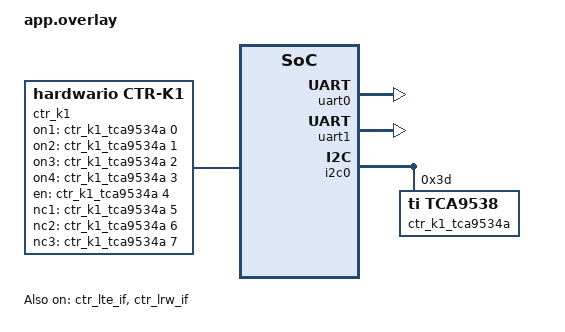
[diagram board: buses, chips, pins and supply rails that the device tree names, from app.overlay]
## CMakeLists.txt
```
#
# Copyright (c) 2024 HARDWARIO a.s.
#
#  SPDX-License-Identifier: LicenseRef-HARDWARIO-5-Clause
#

cmake_minimum_required(VERSION 3.20.0)

set(ENV{FW_BUNDLE} "com.hardwario.chester.current")
set(ENV{FW_VERSION} "v1.0.0")
set(ENV{FW_NAME} "CHESTER Current")

find_package(Zephyr REQUIRED HINTS $ENV{ZEPHYR_BASE})

project(chester-current)

add_custom_command(
    COMMAND ../../../scripts/gen-msg-key.py ../codec/cbor-decoder.yaml ../src/msg_key.h
    OUTPUT ../src/msg_key.h
    MAIN_DEPENDENCY ../codec/cbor-decoder.yaml
)

target_sources(app PRIVATE src/app_sensor.c)
target_sources(app PRIVATE src/main.c)
target_sources(app PRIVATE src/app_shell.c)
target_sources(app PRIVATE src/app_init.c)
target_sources(app PRIVATE src/app_data.c)
target_sources(app PRIVATE src/app_power.c)
target_sources(app PRIVATE src/app_send.c)
target_sources(app PRIVATE src/app_config.c)
target_sources(app PRIVATE src/app_work.c)
target_sources(app PRIVATE src/app_handler.c)
target_sources(app PRIVATE src/app_backup.c)
target_sources(app PRIVATE src/app_cbor.c)
```

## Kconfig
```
#
# Copyright (c) 2024 HARDWARIO a.s.
#
# SPDX-License-Identifier: LicenseRef-HARDWARIO-5-Clause
#

menu "Application"

# CHESTER CURRENT Project | CURRENT Variant 

# LTE 
config SHIELD_CTR_LTE
	bool "Enable SHIELD_CTR_LTE"
	default y 

config CTR_LTE
	default y
# LRW 
config SHIELD_CTR_LRW
	bool "Enable SHIELD_CTR_LRW"
	default y 

config CTR_LRW
	default y
# K1 
config SHIELD_CTR_K1
	bool "Enable SHIELD_CTR_K1"
	default y 

config CTR_K1
	default y

endmenu

menu "Zephyr Kernel"
source "Kconfig.zephyr"
endmenu
```

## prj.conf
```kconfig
#
# Copyright (c) 2024 HARDWARIO a.s.
#
#  SPDX-License-Identifier: LicenseRef-HARDWARIO-5-Clause
#

# Configurations
CONFIG_ADC_SHELL=y
CONFIG_CTR_ACCEL=y
CONFIG_CTR_BATT=y
CONFIG_CTR_BUTTON=y
CONFIG_CTR_BLE=y
CONFIG_CTR_BUF=y
CONFIG_CTR_DEFAULTS=y
CONFIG_CTR_INFO=y
CONFIG_CTR_LED=y
CONFIG_CTR_LOG=y
CONFIG_CTR_RTC=y
CONFIG_CTR_THERM=y
CONFIG_CTR_WDOG=y
CONFIG_ENTROPY_GENERATOR=y
CONFIG_TINYCRYPT=y
CONFIG_TINYCRYPT_SHA256=y
CONFIG_ZCBOR=y
CONFIG_ZCBOR_STOP_ON_ERROR=y
CONFIG_CTR_LTE_CLKSYNC=y

# Extra configurations
CONFIG_ADC_TLA2021_INIT_PRIORITY=60
CONFIG_ADC_NRFX_SAADC=n
CONFIG_ADC_SHELL=n
CONFIG_CTR_K1_LOG_LEVEL_DBG=y

# USER CODE BEGIN Config 
# USER CODE END Config
```

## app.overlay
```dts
/*
 * Copyright (c) 2024 HARDWARIO a.s.
 *
 * SPDX-License-Identifier: LicenseRef-HARDWARIO-5-Clause
 */

/* CHESTER CURRENT Project | CURRENT Variant */

/* LTE  */
&ctr_lte_if {
	status = "okay";
};

&uart0 {
	status = "okay";
};
/* LRW   */
&ctr_lrw_if {
	status = "okay";
};

&uart1 {
	status = "okay";
};
/* K1  */
/ {
	ctr_k1: ctr_k1 {
		compatible = "hardwario,ctr-k1";
		status = "okay";
		on1-gpios = <&ctr_k1_tca9534a 0 GPIO_ACTIVE_HIGH>;
		on2-gpios = <&ctr_k1_tca9534a 1 GPIO_ACTIVE_HIGH>;
		on3-gpios = <&ctr_k1_tca9534a 2 GPIO_ACTIVE_HIGH>;
		on4-gpios = <&ctr_k1_tca9534a 3 GPIO_ACTIVE_HIGH>;
		en-gpios = <&ctr_k1_tca9534a 4 GPIO_ACTIVE_HIGH>;
		nc1-gpios = <&ctr_k1_tca9534a 5 GPIO_ACTIVE_HIGH>;
		nc2-gpios = <&ctr_k1_tca9534a 6 GPIO_ACTIVE_HIGH>;
		nc3-gpios = <&ctr_k1_tca9534a 7 GPIO_ACTIVE_HIGH>;
	};
};

&i2c0 {
	ctr_k1_tca9534a: ctr_k1_tca9534a@3d {
		compatible = "ti,tca9538";
		status = "okay";
		reg = <0x3d>;
		#gpio-cells = <2>;
		gpio-controller;
		ngpios = <8>;
	};
};
```

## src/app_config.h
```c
/*
 * Copyright (c) 2024 HARDWARIO a.s.
 *
 * SPDX-License-Identifier: LicenseRef-HARDWARIO-5-Clause
 */

#ifndef APP_CONFIG_H_
#define APP_CONFIG_H_

/* Zephyr includes */
#include <zephyr/shell/shell.h>

/* Standard includes */
#include <stdbool.h>
#include <stddef.h>

/* USER CODE BEGIN Includes */
/* USER CODE END Includes */

#ifdef __cplusplus
extern "C" {
#endif

#define APP_CONFIG_CHANNEL_COUNT 4

enum app_config_mode {
	APP_CONFIG_MODE_NONE = 0,
	APP_CONFIG_MODE_LTE = 1,
	APP_CONFIG_MODE_LRW = 2,
};

struct app_config {
	enum app_config_mode mode;
	int channel_interval_sample;
	int channel_interval_aggreg;
	int interval_report;
	int w1_therm_interval_sample;
	int w1_therm_interval_aggreg;
	int event_report_delay;
	int event_report_rate;
	bool backup_report_connected;
	bool backup_report_disconnected;
	bool channel_active[4];
	bool channel_differential[4];
	int channel_calib_x0[4];
	int channel_calib_y0[4];
	int channel_calib_x1[4];
	int channel_calib_y1[4];

	/* USER CODE BEGIN Struct Variables */
	/* USER CODE END Struct Variables */
};

extern struct app_config g_app_config;

/* USER CODE BEGIN Variables */
/* USER CODE END Variables */

int app_config_cmd_config_mode(const struct shell *shell, size_t argc, char **argv);
int app_config_cmd_config_show(const struct shell *shell, size_t argc, char **argv);
int app_config_cmd_config_channel_interval_sample(const struct shell *shell, size_t argc, char **argv);
int app_config_cmd_config_channel_interval_aggreg(const struct shell *shell, size_t argc, char **argv);
int app_config_cmd_config_interval_report(const struct shell *shell, size_t argc, char **argv);
int app_config_cmd_config_w1_therm_interval_sample(const struct shell *shell, size_t argc, char **argv);
int app_config_cmd_config_w1_therm_interval_aggreg(const struct shell *shell, size_t argc, char **argv);
int app_config_cmd_config_event_report_delay(const struct shell *shell, size_t argc, char **argv);
int app_config_cmd_config_event_report_rate(const struct shell *shell, size_t argc, char **argv);
int app_config_cmd_config_backup_report_connected(const struct shell *shell, size_t argc, char **argv);
int app_config_cmd_config_backup_report_disconnected(const struct shell *shell, size_t argc, char **argv);
int app_config_cmd_config_channel_active(const struct shell *shell, size_t argc, char **argv);
int app_config_cmd_config_channel_differential(const struct shell *shell, size_t argc, char **argv);
int app_config_cmd_config_channel_calib_x0(const struct shell *shell, size_t argc, char **argv);
int app_config_cmd_config_channel_calib_y0(const struct shell *shell, size_t argc, char **argv);
int app_config_cmd_config_channel_calib_x1(const struct shell *shell, size_t argc, char **argv);
int app_config_cmd_config_channel_calib_y1(const struct shell *shell, size_t argc, char **argv);
int app_config_get_interval_report(void);
int app_config_set_interval_report(int value);

/* USER CODE BEGIN Functions 1 */
/* USER CODE END Functions 1 */

#ifdef __cplusplus
}
#endif

#endif /* APP_CONFIG_H_ */
```

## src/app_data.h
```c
/*
 * Copyright (c) 2023 HARDWARIO a.s.
 *
 * SPDX-License-Identifier: LicenseRef-HARDWARIO-5-Clause
 */

#ifndef APP_DATA_H_
#define APP_DATA_H_

#include "app_config.h"

/* CHESTER includes */
#include <chester/ctr_lte.h>

/* Standard includes */
#include <stdbool.h>
#include <stdint.h>

#define APP_DATA_ANALOG_MAX_SAMPLES      32
#define APP_DATA_ANALOG_MAX_MEASUREMENTS 32

#define APP_DATA_MAX_BACKUP_EVENTS 32

#define APP_DATA_W1_THERM_COUNT            10
#define APP_DATA_W1_THERM_MAX_SAMPLES      32
#define APP_DATA_W1_THERM_MAX_MEASUREMENTS 32

#ifdef __cplusplus
extern "C" {
#endif

#if defined(CONFIG_SHIELD_CTR_Z)
struct app_data_backup_event {
	int64_t timestamp;
	bool connected;
};

struct app_data_backup {
	float line_voltage;
	float battery_voltage;
	bool line_present;
	int event_count;
	struct app_data_backup_event events[APP_DATA_MAX_BACKUP_EVENTS];
};
#endif /* defined(CONFIG_SHIELD_CTR_Z) */

#if defined(CONFIG_SHIELD_CTR_K1)
struct app_data_analog_aggreg {
	float min;
	float max;
	float avg;
	float mdn;
};

struct app_data_channel {
	int64_t timestamp;

	int sample_count;
	float samples_mean[APP_DATA_ANALOG_MAX_SAMPLES];
	float samples_rms[APP_DATA_ANALOG_MAX_SAMPLES];

	int measurement_count;
	struct app_data_analog_aggreg measurements_mean[APP_DATA_ANALOG_MAX_MEASUREMENTS];
	struct app_data_analog_aggreg measurements_rms[APP_DATA_ANALOG_MAX_MEASUREMENTS];
};
#endif /* defined(CONFIG_SHIELD_CTR_K1) */

#if defined(CONFIG_SHIELD_CTR_DS18B20)
struct app_data_w1_therm_measurement {
	struct app_data_analog_aggreg temperature;
};

struct app_data_w1_therm_sensor {
	uint64_t serial_number;

	float last_sample_temperature;

	int sample_count;
	float samples_temperature[APP_DATA_W1_THERM_MAX_SAMPLES];

	int measurement_count;
	struct app_data_w1_therm_measurement measurements[APP_DATA_W1_THERM_MAX_MEASUREMENTS];
};

struct app_data_w1_therm {
	struct app_data_w1_therm_sensor sensor[APP_DATA_W1_THERM_COUNT];

	int64_t timestamp;
	atomic_t sample;
	atomic_t aggreg;
};
#endif /* defined(CONFIG_SHIELD_CTR_DS18B20) */

struct app_data {
	float system_voltage_rest;
	float system_voltage_load;
	float system_current_load;
	float therm_temperature;
	float accel_acceleration_x;
	float accel_acceleration_y;
	float accel_acceleration_z;
	int accel_orientation;

#if defined(CONFIG_SHIELD_CTR_Z)
	struct app_data_backup backup;
#endif /* defined(CONFIG_SHIELD_CTR_Z) */

#if defined(CONFIG_SHIELD_CTR_K1)
	struct app_data_channel channel[APP_CONFIG_CHANNEL_COUNT];
#endif /* defined(CONFIG_SHIELD_CTR_K1) */

#if defined(CONFIG_SHIELD_CTR_DS18B20)
	struct app_data_w1_therm w1_therm;
#endif /* defined(CONFIG_SHIELD_CTR_DS18B20) */
};

extern struct app_data g_app_data;

/* TODO Delete */
extern struct k_mutex g_app_data_lte_eval_mut;
extern bool g_app_data_lte_eval_valid;
extern struct ctr_lte_eval g_app_data_lte_eval;

void app_data_lock(void);
void app_data_unlock(void);

#ifdef __cplusplus
}
#endif

#endif /* APP_DATA_H_ */
```

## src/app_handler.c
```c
/*
 * Copyright (c) 2023 HARDWARIO a.s.
 *
 * SPDX-License-Identifier: LicenseRef-HARDWARIO-5-Clause
 */

#include "app_data.h"
#include "app_handler.h"
#include "app_init.h"
#include "app_work.h"

/* CHESTER includes */
#include <chester/ctr_led.h>
#include <chester/ctr_lte.h>
#include <chester/ctr_rtc.h>

/* Zephyr includes */
#include <zephyr/kernel.h>
#include <zephyr/logging/log.h>
#include <zephyr/sys/reboot.h>

/* Standard includes */
#include <stdbool.h>
#include <stddef.h>

LOG_MODULE_REGISTER(app_handler, LOG_LEVEL_DBG);

#if defined(CONFIG_SHIELD_CTR_Z)
static atomic_t m_report_rate_hourly_counter = 0;
static atomic_t m_report_rate_timer_is_active = false;
static atomic_t m_report_delay_timer_is_active = false;
#endif /* defined(CONFIG_SHIELD_CTR_Z) */

void app_handler_lrw(enum ctr_lrw_event event, union ctr_lrw_event_data *data, void *param)
{
	int ret;

	switch (event) {
	case CTR_LRW_EVENT_FAILURE:
		LOG_INF("Event `CTR_LRW_EVENT_FAILURE`");
		ret = ctr_lrw_start(NULL);
		if (ret) {
			LOG_ERR("Call `ctr_lrw_start` failed: %d", ret);
		}
		break;
	case CTR_LRW_EVENT_START_OK:
		LOG_INF("Event `CTR_LRW_EVENT_START_OK`");
		ret = ctr_lrw_join(NULL);
		if (ret) {
			LOG_ERR("Call `ctr_lrw_join` failed: %d", ret);
		}
		break;
	case CTR_LRW_EVENT_START_ERR:
		LOG_INF("Event `CTR_LRW_EVENT_START_ERR`");
		break;
	case CTR_LRW_EVENT_JOIN_OK:
		LOG_INF("Event `CTR_LRW_EVENT_JOIN_OK`");
		break;
	case CTR_LRW_EVENT_JOIN_ERR:
		LOG_INF("Event `CTR_LRW_EVENT_JOIN_ERR`");
		break;
	case CTR_LRW_EVENT_SEND_OK:
		LOG_INF("Event `CTR_LRW_EVENT_SEND_OK`");
		break;
	case CTR_LRW_EVENT_SEND_ERR:
		LOG_INF("Event `CTR_LRW_EVENT_SEND_ERR`");
		break;
	default:
		LOG_WRN("Unknown event: %d", event);
	}
}

static void start(void)
{
	int ret;

	ret = ctr_lte_start(NULL);
	if (ret) {
		LOG_ERR("Call `ctr_lte_start` failed: %d", ret);
		k_oops();
	}
}

static void attach(void)
{
	int ret;

	ret = ctr_lte_attach(NULL);
	if (ret) {
		LOG_ERR("Call `ctr_lte_attach` failed: %d", ret);
		k_oops();
	}
}

void app_handler_lte(enum ctr_lte_event event, union ctr_lte_event_data *data, void *param)
{
	switch (event) {
	case CTR_LTE_EVENT_FAILURE:
		LOG_ERR("Event `CTR_LTE_EVENT_FAILURE`");
		start();
		break;

	case CTR_LTE_EVENT_START_OK:
		LOG_INF("Event `CTR_LTE_EVENT_START_OK`");
		attach();
		break;

	case CTR_LTE_EVENT_START_ERR:
		LOG_ERR("Event `CTR_LTE_EVENT_START_ERR`");
		start();
		break;

	case CTR_LTE_EVENT_ATTACH_OK:
		LOG_INF("Event `CTR_LTE_EVENT_ATTACH_OK`");
		k_sem_give(&g_app_init_sem);
		break;

	case CTR_LTE_EVENT_ATTACH_ERR:
		LOG_ERR("Event `CTR_LTE_EVENT_ATTACH_ERR`");
		start();
		break;

	case CTR_LTE_EVENT_DETACH_OK:
		LOG_INF("Event `CTR_LTE_EVENT_DETACH_OK`");
		break;

	case CTR_LTE_EVENT_DETACH_ERR:
		LOG_ERR("Event `CTR_LTE_EVENT_DETACH_ERR`");
		start();
		break;

	case CTR_LTE_EVENT_EVAL_OK:
		LOG_INF("Event `CTR_LTE_EVENT_EVAL_OK`");

		struct ctr_lte_eval *eval = &data->eval_ok.eval;

		LOG_DBG("EEST: %d", eval->eest);
		LOG_DBG("ECL: %d", eval->ecl);
		LOG_DBG("RSRP: %d", eval->rsrp);
		LOG_DBG("RSRQ: %d", eval->rsrq);
		LOG_DBG("SNR: %d", eval->snr);
		LOG_DBG("PLMN: %d", eval->plmn);
		LOG_DBG("CID: %d", eval->cid);
		LOG_DBG("BAND: %d", eval->band);
		LOG_DBG("EARFCN: %d", eval->earfcn);

		k_mutex_lock(&g_app_data_lte_eval_mut, K_FOREVER);
		memcpy(&g_app_data_lte_eval, &data->eval_ok.eval, sizeof(g_app_data_lte_eval));
		g_app_data_lte_eval_valid = true;
		k_mutex_unlock(&g_app_data_lte_eval_mut);

		break;

	case CTR_LTE_EVENT_EVAL_ERR:
		LOG_ERR("Event `CTR_LTE_EVENT_EVAL_ERR`");

		k_mutex_lock(&g_app_data_lte_eval_mut, K_FOREVER);
		g_app_data_lte_eval_valid = false;
		k_mutex_unlock(&g_app_data_lte_eval_mut);

		break;

	case CTR_LTE_EVENT_SEND_OK:
		LOG_INF("Event `CTR_LTE_EVENT_SEND_OK`");
		break;

	case CTR_LTE_EVENT_SEND_ERR:
		LOG_ERR("Event `CTR_LTE_EVENT_SEND_ERR`");
		start();
		break;

	default:
		LOG_WRN("Unknown event: %d", event);
		return;
	}
}

#if defined(CONFIG_SHIELD_CTR_Z)

static void report_delay_timer_handler(struct k_timer *timer)
{
	app_work_send();
	atomic_inc(&m_report_rate_hourly_counter);
	atomic_set(&m_report_delay_timer_is_active, false);
}

static K_TIMER_DEFINE(m_report_delay_timer, report_delay_timer_handler, NULL);

static void report_rate_timer_handler(struct k_timer *timer)
{
	atomic_set(&m_report_rate_hourly_counter, 0);
	atomic_set(&m_report_rate_timer_is_active, false);
}

static K_TIMER_DEFINE(m_report_rate_timer, report_rate_timer_handler, NULL);

static void send_with_rate_limit(void)
{
	if (!atomic_get(&m_report_rate_timer_is_active)) {
		k_timer_start(&m_report_rate_timer, K_HOURS(1), K_NO_WAIT);
		atomic_set(&m_report_rate_timer_is_active, true);
	}

	LOG_INF("Hourly counter state: %d/%d", (int)atomic_get(&m_report_rate_hourly_counter),
		g_app_config.event_report_rate);

	if (atomic_get(&m_report_rate_hourly_counter) <= g_app_config.event_report_rate) {
		if (!atomic_set(&m_report_delay_timer_is_active, true)) {
			LOG_INF("Starting delay timer");
			k_timer_start(&m_report_delay_timer,
				      K_SECONDS(g_app_config.event_report_delay), K_NO_WAIT);
		} else {
			LOG_INF("Delay timer already running");
		}
	} else {
		LOG_WRN("Hourly counter exceeded");
	}
}

void app_handler_ctr_z(const struct device *dev, enum ctr_z_event backup_event, void *param)
{
	int ret;

	if (backup_event != CTR_Z_EVENT_DC_CONNECTED &&
	    backup_event != CTR_Z_EVENT_DC_DISCONNECTED) {
		return;
	}

	struct app_data_backup *backup = &g_app_data.backup;

	app_work_backup_update();

	app_data_lock();

	backup->line_present = backup_event == CTR_Z_EVENT_DC_CONNECTED;

	if (backup->event_count < APP_DATA_MAX_BACKUP_EVENTS) {
		struct app_data_backup_event *event = &backup->events[backup->event_count];

		ret = ctr_rtc_get_ts(&event->timestamp);
		if (ret) {
			LOG_ERR("Call `ctr_rtc_get_ts` failed: %d", ret);
			app_data_unlock();
			return;
		}

		event->connected = backup->line_present;
		backup->event_count++;

		LOG_INF("Event count: %d", backup->event_count);
	} else {
		LOG_WRN("Measurement full");
		app_data_unlock();
		return;
	}

	LOG_INF("Backup: %d", (int)backup->line_present);

	if (g_app_config.backup_report_connected && backup_event == CTR_Z_EVENT_DC_CONNECTED) {
		send_with_rate_limit();
	}

	if (g_app_config.backup_report_disconnected &&
	    backup_event == CTR_Z_EVENT_DC_DISCONNECTED) {
		send_with_rate_limit();
	}

	app_data_unlock();
}

#endif /* defined(CONFIG_SHIELD_CTR_Z) */

#if defined(CONFIG_CTR_BUTTON)

static void app_load_timer_handler(struct k_timer *timer)
{
	ctr_led_set(CTR_LED_CHANNEL_LOAD, 0);
}

K_TIMER_DEFINE(app_load_timer, app_load_timer_handler, NULL);

void app_handler_ctr_button(enum ctr_button_channel chan, enum ctr_button_event ev, int val,
			    void *user_data)
{
	int ret;

	if (chan != CTR_BUTTON_CHANNEL_INT) {
		return;
	}

	if (ev == CTR_BUTTON_EVENT_CLICK) {
		for (int i = 0; i < val; i++) {
			ret = ctr_led_set(CTR_LED_CHANNEL_Y, true);
			if (ret) {
				LOG_ERR("Call `ctr_led_set` failed: %d", ret);
				return;
			}

			k_sleep(K_MSEC(50));
			ret = ctr_led_set(CTR_LED_CHANNEL_Y, false);
			if (ret) {
				LOG_ERR("Call `ctr_led_set` failed: %d", ret);
				return;
			}

			k_sleep(K_MSEC(200));
		}

		switch (val) {
		case 1:
			app_work_send();
			break;
		case 2:
			app_work_sample();
			break;
		case 3:
			app_work_sample();
			app_work_aggreg();
			app_work_send();
			break;
		case 4:
			sys_reboot(SYS_REBOOT_COLD);
			break;
		case 5:
			ret = ctr_led_set(CTR_LED_CHANNEL_LOAD, 1);
			if (ret) {
				LOG_ERR("Call `ctr_led_set` failed: %d", ret);
				return;
			}
			k_timer_start(&app_load_timer, K_MINUTES(2), K_FOREVER);
			break;
		}
	}
}

#endif /* defined(CONFIG_CTR_BUTTON) */
```

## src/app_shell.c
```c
/*
 * Copyright (c) 2024 HARDWARIO a.s.
 *
 * SPDX-License-Identifier: LicenseRef-HARDWARIO-5-Clause
 */

#include "app_config.h"
#include "app_work.h"

/* Zephyr includes */
#include <zephyr/kernel.h>
#include <zephyr/logging/log.h>
#include <zephyr/shell/shell.h>

/* Standard includes */
#include <errno.h>
#include <stdlib.h>

/* USER CODE BEGIN Includes */
/* USER CODE END Includes */

LOG_MODULE_REGISTER(app_shell, LOG_LEVEL_INF);

static int cmd_sample(const struct shell *shell, size_t argc, char **argv)
{
	if (argc > 1) {
		shell_error(shell, "unknown parameter: %s", argv[1]);
		shell_help(shell);
		return -EINVAL;
	}

	app_work_sample();

	return 0;
}

static int cmd_send(const struct shell *shell, size_t argc, char **argv)
{
	if (argc > 1) {
		shell_error(shell, "unknown parameter: %s", argv[1]);
		shell_help(shell);
		return -EINVAL;
	}

	app_work_send();

	return 0;
}

static int cmd_aggreg(const struct shell *shell, size_t argc, char **argv)
{
	if (argc > 1) {
		shell_error(shell, "unknown parameter: %s", argv[1]);
		shell_help(shell);
		return -EINVAL;
	}

	app_work_aggreg();

	return 0;
}

static int print_help(const struct shell *shell, size_t argc, char **argv)
{
	if (argc > 1) {
		shell_error(shell, "command not found: %s", argv[1]);
		shell_help(shell);
		return -EINVAL;
	}

	shell_help(shell);
	return 0;
}

/* clang-format off */

SHELL_STATIC_SUBCMD_SET_CREATE(
	sub_app_config,
   
	SHELL_CMD_ARG(show, NULL,
				  "List current configuration.",
				  app_config_cmd_config_show, 1, 0),
	
	SHELL_CMD_ARG(mode, NULL,
				  "Get/Set communication mode (None/LTE/LoRaWAN) ('none', 'lte', 'lrw').",
				  app_config_cmd_config_mode, 1, 1),
	
	SHELL_CMD_ARG(channel-interval-sample, NULL,
				  "Get/Set channel sample interval in seconds (format: <1-86400>).",
				  app_config_cmd_config_channel_interval_sample, 1, 1),
	
	SHELL_CMD_ARG(channel-interval-aggreg, NULL,
				  "Get/Set channel aggregate interval in seconds (format: <1-86400>).",
				  app_config_cmd_config_channel_interval_aggreg, 1, 1),
	
	SHELL_CMD_ARG(interval-report, NULL,
				  "Get/Set report interval in seconds (format: <30-86400>).",
				  app_config_cmd_config_interval_report, 1, 1),
	
	SHELL_CMD_ARG(w1-therm-interval-sample, NULL,
				  "Get/Set report when hygro high temperature alarm is crossed (format: true, false).",
				  app_config_cmd_config_w1_therm_interval_sample, 1, 1),
	
	SHELL_CMD_ARG(w1-therm-interval-aggreg, NULL,
				  "Get/Set report when hygro low temperature alarm is crossed (format: true, false).",
				  app_config_cmd_config_w1_therm_interval_aggreg, 1, 1),
	
	SHELL_CMD_ARG(event-report-delay, NULL,
				  "Get/Set event report delay in seconds (format: <1-86400>).",
				  app_config_cmd_config_event_report_delay, 1, 1),
	
	SHELL_CMD_ARG(event-report-rate, NULL,
				  "Get/Set event report rate in reports per hour (format: <1-3600>).",
				  app_config_cmd_config_event_report_rate, 1, 1),
	
	SHELL_CMD_ARG(backup-report-connected, NULL,
				  "Get/Set report when backup is active (format: true, false).",
				  app_config_cmd_config_backup_report_connected, 1, 1),
	
	SHELL_CMD_ARG(backup-report-disconnected, NULL,
				  "Get/Set report when backup is inactive (format: true, false).",
				  app_config_cmd_config_backup_report_disconnected, 1, 1),
	
	SHELL_CMD_ARG(channel-active, NULL,
				"Get/Set channel activation (format: <channel> <true|false>).",
				app_config_cmd_config_channel_active, 2, 1),
	
	SHELL_CMD_ARG(channel-differential, NULL,
				"Get/Set channel differential mode (format: <channel> <true|false>).",
				app_config_cmd_config_channel_differential, 2, 1),
	
	SHELL_CMD_ARG(channel-calib-x0, NULL,
				"Get/Set channel X0 calibration point (format: <channel> <-2147483648..2147483647>).",
				app_config_cmd_config_channel_calib_x0, 2, 1),
	
	SHELL_CMD_ARG(channel-calib-y0, NULL,
				"Get/Set channel Y0 calibration point (format: <channel> <-2147483648..2147483647>).",
				app_config_cmd_config_channel_calib_y0, 2, 1),
	
	SHELL_CMD_ARG(channel-calib-x1, NULL,
				"Get/Set channel X1 calibration point (format: <channel> <-2147483648..2147483647>).",
				app_config_cmd_config_channel_calib_x1, 2, 1),
	
	SHELL_CMD_ARG(channel-calib-y1, NULL,
				"Get/Set channel Y1 calibration point (format: <channel> <-2147483648..2147483647>).",
				app_config_cmd_config_channel_calib_y1, 2, 1),
	
	/* USER CODE BEGIN Functions 1 */
	/* USER CODE END Functions 1 */

	SHELL_SUBCMD_SET_END
);

SHELL_STATIC_SUBCMD_SET_CREATE(
	sub_app,

	SHELL_CMD_ARG(config, &sub_app_config, "Configuration commands.",
				  print_help, 1, 0),
		
	SHELL_SUBCMD_SET_END

	/* USER CODE BEGIN Functions 2 */
	/* USER CODE END Functions 2 */
);

SHELL_CMD_REGISTER(app, &sub_app, "Application commands.", print_help);

SHELL_CMD_REGISTER(sample, NULL,"Sample immediately.", cmd_sample);
SHELL_CMD_REGISTER(send, NULL,"Send data immediately.", cmd_send);
SHELL_CMD_REGISTER(aggreg, NULL,"Aggregate data immediately", cmd_aggreg);

/* USER CODE BEGIN Functions 3 */
/* USER CODE END Functions 3 */

/* clang-format on */
```

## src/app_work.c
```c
/*
 * Copyright (c) 2023 HARDWARIO a.s.
 *
 * SPDX-License-Identifier: LicenseRef-HARDWARIO-5-Clause
 */

#include "app_backup.h"
#include "app_config.h"
#include "app_data.h"
#include "app_init.h"
#include "app_power.h"
#include "app_send.h"
#include "app_sensor.h"
#include "app_work.h"

/* Zephyr includes */
#include <zephyr/device.h>
#include <zephyr/kernel.h>
#include <zephyr/logging/log.h>
#include <zephyr/random/rand32.h>

/* Standard includes */
#include <math.h>
#include <stddef.h>
#include <stdint.h>

LOG_MODULE_REGISTER(app_work, LOG_LEVEL_DBG);

#define WORK_Q_STACK_SIZE 4096
#define WORK_Q_PRIORITY   K_LOWEST_APPLICATION_THREAD_PRIO

static struct k_work_q m_work_q;
static K_THREAD_STACK_DEFINE(m_work_q_stack, WORK_Q_STACK_SIZE);

static struct k_timer m_send_timer;

static void send_work_handler(struct k_work *work)
{
	int ret;

	int64_t jitter = (int32_t)sys_rand32_get() % (g_app_config.interval_report * 1000 / 5);
	int64_t duration = g_app_config.interval_report * 1000 + jitter;

	LOG_INF("Scheduling next timeout in %lld second(s)", duration / 1000);

	k_timer_start(&m_send_timer, K_MSEC(duration), K_FOREVER);

	ret = app_send();
	if (ret) {
		LOG_ERR("Call `app_send` failed: %d", ret);
	}

#if defined(CONFIG_SHIELD_CTR_Z)
	app_backup_clear();
#endif /* defined(CONFIG_SHIELD_CTR_Z) */

#if defined(CONFIG_SHIELD_CTR_K1)
	app_sensor_analog_clear();
#endif /* defined(CONFIG_SHIELD_CTR_K1) */

#if defined(CONFIG_SHIELD_CTR_DS18B20)
	app_sensor_w1_therm_clear();
#endif /* defined(CONFIG_SHIELD_CTR_DS18B20) */
}

static K_WORK_DEFINE(m_send_work, send_work_handler);

static void send_timer_handler(struct k_timer *timer)
{
	int ret;

	ret = k_work_submit_to_queue(&m_work_q, &m_send_work);
	if (ret < 0) {
		LOG_ERR("Call `k_work_submit_to_queue` failed: %d", ret);
	}
}

static K_TIMER_DEFINE(m_send_timer, send_timer_handler, NULL);

static void sample_work_handler(struct k_work *work)
{
	int ret;

#if defined(CONFIG_SHIELD_CTR_Z)
	ret = app_backup_sample();
	if (ret) {
		LOG_ERR("Call `app_backup_sample` failed: %d", ret);
	}
#endif /* defined(CONFIG_SHIELD_CTR_Z) */

	ret = app_sensor_sample();
	if (ret < 0) {
		LOG_ERR("Call `app_sensor_sample` failed: %d", ret);
	}
}

static K_WORK_DEFINE(m_sample_work, sample_work_handler);

static void sample_timer_handler(struct k_timer *timer)
{
	int ret;

	ret = k_work_submit_to_queue(&m_work_q, &m_sample_work);
	if (ret < 0) {
		LOG_ERR("Call `k_work_submit_to_queue` failed: %d", ret);
	}
}

static K_TIMER_DEFINE(m_sample_timer, sample_timer_handler, NULL);

static void power_work_handler(struct k_work *work)
{
	int ret;

	ret = app_power_sample();
	if (ret < 0) {
		LOG_ERR("Call `app_power_sample` failed: %d", ret);
	}
}

static K_WORK_DEFINE(m_power_work, power_work_handler);

static void power_timer_handler(struct k_timer *timer)
{
	int ret;

	ret = k_work_submit_to_queue(&m_work_q, &m_power_work);
	if (ret < 0) {
		LOG_ERR("Call `k_work_submit_to_queue` failed: %d", ret);
	}
}

static K_TIMER_DEFINE(m_power_timer, power_timer_handler, NULL);

#if defined(CONFIG_SHIELD_CTR_K1)

static void analog_sample_work_handler(struct k_work *work)
{
	int ret;

	ret = app_sensor_analog_sample();
	if (ret < 0) {
		LOG_ERR("Call `app_sensor_analog_sample` failed: %d", ret);
	}
}

static K_WORK_DEFINE(m_analog_sample_work, analog_sample_work_handler);

static void analog_sample_timer_handler(struct k_timer *timer)
{
	int ret;

	ret = k_work_submit_to_queue(&m_work_q, &m_analog_sample_work);
	if (ret < 0) {
		LOG_ERR("Call `k_work_submit_to_queue` failed: %d", ret);
	}
}

static K_TIMER_DEFINE(m_analog_sample_timer, analog_sample_timer_handler, NULL);

static void analog_aggreg_work_handler(struct k_work *work)
{
	int ret;

	ret = app_sensor_analog_aggreg();
	if (ret < 0) {
		LOG_ERR("Call `app_sensor_analog_aggreg` failed: %d", ret);
	}
}

static K_WORK_DEFINE(m_analog_aggreg_work, analog_aggreg_work_handler);

static void analog_aggreg_timer_handler(struct k_timer *timer)
{
	int ret;

	ret = k_work_submit_to_queue(&m_work_q, &m_analog_aggreg_work);
	if (ret < 0) {
		LOG_ERR("Call `k_work_submit_to_queue` failed: %d", ret);
	}
}

static K_TIMER_DEFINE(m_analog_aggreg_timer, analog_aggreg_timer_handler, NULL);

#endif /* defined(CONFIG_SHIELD_CTR_K1) */

#if defined(CONFIG_SHIELD_CTR_Z)

static void backup_work_handler(struct k_work *work)
{
	int ret;

	ret = app_backup_sample();
	if (ret < 0) {
		LOG_ERR("Call `app_backup_sample` failed: %d", ret);
	}
}

static K_WORK_DEFINE(m_backup_work, backup_work_handler);

void app_work_backup_update(void)
{
	int ret;

	ret = k_work_submit_to_queue(&m_work_q, &m_backup_work);
	if (ret < 0) {
		LOG_ERR("Call `k_work_submit_to_queue` failed: %d", ret);
	}
}

#endif /* defined(CONFIG_SHIELD_CTR_Z) */

#if defined(CONFIG_SHIELD_CTR_DS18B20)

static void w1_therm_sample_work_handler(struct k_work *work)
{
	int ret;

	ret = app_sensor_w1_therm_sample();
	if (ret) {
		LOG_ERR("Call `app_sensor_w1_therm_sample` failed: %d", ret);
	}
}

static K_WORK_DEFINE(m_w1_therm_sample_work, w1_therm_sample_work_handler);

static void w1_therm_sample_timer_handler(struct k_timer *timer)
{
	int ret;

	ret = k_work_submit_to_queue(&m_work_q, &m_w1_therm_sample_work);
	if (ret < 0) {
		LOG_ERR("Call `k_work_submit_to_queue` failed: %d", ret);
	}
}

static K_TIMER_DEFINE(m_w1_therm_sample_timer, w1_therm_sample_timer_handler, NULL);

static void w1_therm_aggreg_work_handler(struct k_work *work)
{
	int ret;

	ret = app_sensor_w1_therm_aggreg();
	if (ret) {
		LOG_ERR("Call `app_sensor_w1_therm_aggreg` failed: %d", ret);
	}
}

static K_WORK_DEFINE(m_w1_therm_aggreg_work, w1_therm_aggreg_work_handler);

static void w1_therm_aggreg_timer_handler(struct k_timer *timer)
{
	int ret;

	ret = k_work_submit_to_queue(&m_work_q, &m_w1_therm_aggreg_work);
	if (ret < 0) {
		LOG_ERR("Call `k_work_submit_to_queue` failed: %d", ret);
	}
}

static K_TIMER_DEFINE(m_w1_therm_aggreg_timer, w1_therm_aggreg_timer_handler, NULL);

#endif /* defined(CONFIG_SHIELD_CTR_DS18B20) */

int app_work_init(void)
{
	k_work_queue_start(&m_work_q, m_work_q_stack, K_THREAD_STACK_SIZEOF(m_work_q_stack),
			   WORK_Q_PRIORITY, NULL);

	k_thread_name_set(&m_work_q.thread, "app_work");

	k_timer_start(&m_send_timer, K_SECONDS(10), K_FOREVER);
	k_timer_start(&m_sample_timer, K_NO_WAIT, K_SECONDS(60));
	k_timer_start(&m_power_timer, K_SECONDS(60), K_HOURS(12));

#if defined(CONFIG_SHIELD_CTR_K1)
	k_timer_start(&m_analog_sample_timer, K_SECONDS(g_app_config.channel_interval_sample),
		      K_SECONDS(g_app_config.channel_interval_sample));
	k_timer_start(&m_analog_aggreg_timer, K_SECONDS(g_app_config.channel_interval_aggreg),
		      K_SECONDS(g_app_config.channel_interval_aggreg));
#endif /* defined(CONFIG_SHIELD_CTR_K1) */

#if defined(CONFIG_SHIELD_CTR_DS18B20)
	k_timer_start(&m_w1_therm_sample_timer, K_SECONDS(g_app_config.w1_therm_interval_sample),
		      K_SECONDS(g_app_config.w1_therm_interval_sample));
	k_timer_start(&m_w1_therm_aggreg_timer, K_SECONDS(g_app_config.w1_therm_interval_aggreg),
		      K_SECONDS(g_app_config.w1_therm_interval_aggreg));
#endif /* defined(CONFIG_SHIELD_CTR_DS18B20) */

	return 0;
}

void app_work_aggreg(void)
{
#if defined(CONFIG_SHIELD_CTR_K1)
	k_timer_start(&m_analog_aggreg_timer, K_NO_WAIT,
		      K_SECONDS(g_app_config.channel_interval_sample));
#endif /* defined(CONFIG_SHIELD_CTR_K1) */

#if defined(CONFIG_SHIELD_CTR_DS18B20)
	k_timer_start(&m_w1_therm_aggreg_timer, K_NO_WAIT,
		      K_SECONDS(g_app_config.w1_therm_interval_sample));
#endif /* defined(CONFIG_SHIELD_CTR_DS18B20) */
}

void app_work_sample(void)
{
	k_timer_start(&m_sample_timer, K_NO_WAIT, K_SECONDS(60));

#if defined(CONFIG_SHIELD_CTR_K1)
	k_timer_start(&m_analog_sample_timer, K_NO_WAIT,
		      K_SECONDS(g_app_config.channel_interval_sample));
#endif /* defined(CONFIG_SHIELD_CTR_K1) */

#if defined(CONFIG_SHIELD_CTR_DS18B20)
	k_timer_start(&m_w1_therm_sample_timer, K_NO_WAIT,
		      K_SECONDS(g_app_config.w1_therm_interval_sample));
#endif /* defined(CONFIG_SHIELD_CTR_DS18B20) */
}

void app_work_send(void)
{
	k_timer_start(&m_send_timer, K_NO_WAIT, K_FOREVER);
}
```
